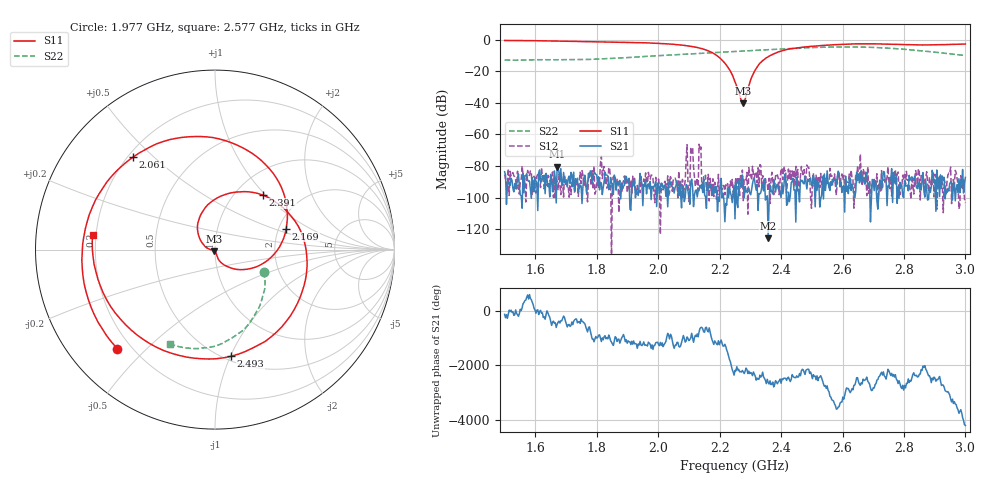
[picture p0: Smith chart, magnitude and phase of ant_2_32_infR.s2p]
! 1/1/2000 12:26:11 AM
! C:\DOCUMENTS AND SETTINGS\VECTORSTARUSER\DESKTOP\231101\ANT_2_32_INFR.S2P
! CHANNEL.1
! TR.MEASUREMENT
! CORRECTED.DATA
# HZ S DB R 50.0
! FREQ.HZ  S11DB  S11A  S21DB  S21A  S12DB  S12A  S22DB  S22A
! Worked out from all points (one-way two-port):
!   501 points, 1.5 GHz to 3 GHz, reference 50 ohm
!   highest |S21| = -80.32 dB at 1.671 GHz (marker M1); lowest = -125.7 dB at 2.358 GHz (marker M2)
!   lowest |S11| = -40.4 dB at 2.277 GHz (marker M3), VSWR 1.02, Z = 49.6 - j0.884 ohm
!   |S11| at or under -10 dB: 2.19 GHz to 2.366 GHz (176.4 MHz wide, 7.74 % of centre)
!   |S22| runs from -13.1 to -4.7 dB; largest |S21 - S12| = 0.0005
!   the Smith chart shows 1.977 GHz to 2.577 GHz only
!   S11 on the Smith chart (normalised r, x): 1.977 GHz: 0.15, -0.41; 2.061 GHz: 0.22, +0.43; 2.169 GHz: 2.20, +0.62; 2.391 GHz: 1.33, +0.96; 2.493 GHz: 0.54, -1.01; 2.577 GHz: 0.19, +0.06
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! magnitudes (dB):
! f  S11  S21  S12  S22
! 1.5 GHz  -0.6  -83.6  -85.3  -13.0
! 1.671 GHz  -1.0  -80.3  -89.5  -12.8
! 1.752 GHz  -1.3  -103.7  -82.9  -12.7
! 1.977 GHz  -2.2  -101.2  -85.6  -10.5
! 2.001 GHz  -2.4  -90.8  -88.2  -10.2
! 2.061 GHz  -3.2  -89.2  -91.6  -9.5
! 2.109 GHz  -4.4  -88.3  -71.7  -9.0
! 2.124 GHz  -4.9  -95.0  -90.0  -8.9
! 2.139 GHz  -5.6  -93.8  -67.9  -8.8
! 2.148 GHz  -6.1  -86.7  -89.4  -8.7
! 2.169 GHz  -7.7  -92.7  -87.7  -8.5
! 2.217 GHz  -14.9  -115.2  -98.2  -8.0
! 2.25 GHz  -26.8  -113.3  -92.1  -7.7
! 2.277 GHz  -40.4  -91.0  -101.8  -7.4
! 2.316 GHz  -19.2  -91.9  -83.9  -6.9
! 2.358 GHz  -10.9  -125.7  -95.9  -6.4
! 2.391 GHz  -7.9  -94.6  -87.9  -6.1
! 2.493 GHz  -4.4  -88.1  -86.4  -5.2
! 2.502 GHz  -4.3  -91.0  -90.5  -5.1
! 2.577 GHz  -3.3  -88.2  -92.6  -4.7
! 2.751 GHz  -3.0  -93.0  -91.8  -5.5
! 3 GHz  -2.9  -87.2  -103.3  -10.1
